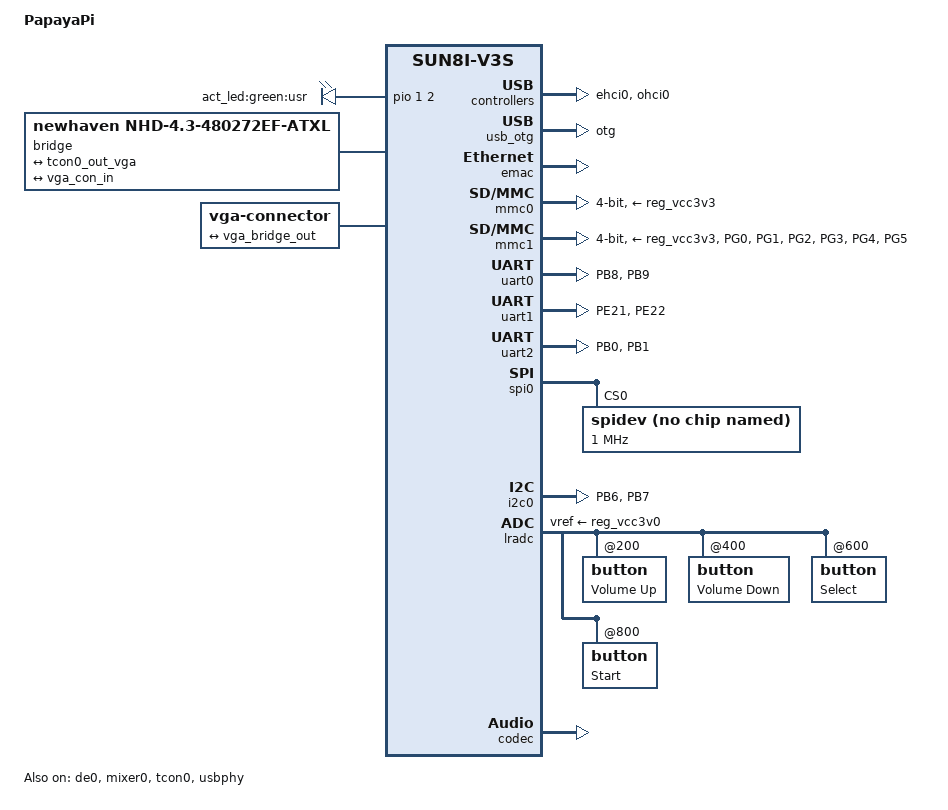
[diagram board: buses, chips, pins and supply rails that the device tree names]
/dts-v1/;
#include "sun8i-v3s.dtsi"
#include "sunxi-common-regulators.dtsi"
#include <dt-bindings/input/input.h>
/ {

	model = "PapayaPi";
	compatible = "PapayaPi", "allwinner,sun8i-v3s";
	
	aliases {
		serial0 = &uart0;
		spi0 = &spi0;
		ethernet0 = &emac;
		
	};

	chosen {
		stdout-path = "serial0:115200n8";
		
		};

	leds {
		compatible = "gpio-leds";
		act_led {
			label = "act_led:green:usr";
			gpios = <&pio 1 2 GPIO_ACTIVE_HIGH>; /* PB2 */
			linux,default-trigger = "mmc0";
			default-state = "off";
		};
	};
	bridge {
		compatible = "newhaven,nhd-4.3-480272ef-atxl", "simple-panel";
		#address-cells = <1>;
		#size-cells = <0>;
		status = "okay";
		ports {
			#address-cells = <1>;
			#size-cells = <0>;

			port@0 {
				reg = <0>;

				vga_bridge_in: endpoint {
					remote-endpoint = <&tcon0_out_vga>;
				};
			};

			port@1 {
				reg = <1>;

				vga_bridge_out: endpoint {
					remote-endpoint = <&vga_con_in>;
				};
			};
		};
	};
	vga {
		compatible = "vga-connector";
		port {
			vga_con_in: endpoint {
				remote-endpoint = <&vga_bridge_out>;
			};
		};
	};
};

&de0 {
	status = "okay";
};

&display_clocks {
	status = "okay";
};

&mixer0 {
	status = "okay";
};

&tcon0 {
	pinctrl-names = "default";
	pinctrl-0 = <&rgb_pins>;
	status = "okay";
};

&tcon0_out {
	tcon0_out_vga: endpoint@0 {
		reg = <0>;
		remote-endpoint = <&vga_bridge_in>;
	};
};

&ehci0 {
        status = "okay";
}; 

&ohci0 {
        status = "okay";
}; 

&usb_otg {
	dr_mode = "otg";
	status = "okay";
};

&usbphy {
	usb0_id_det-gpio = <&pio 5 6 GPIO_ACTIVE_HIGH>;
	status = "okay";

//	pinctrl-0 = <&usb0_id_detect_pin>;
//	usb0_id_detect_pin = <&pio 5 6 GPIO_ACTIVE_LOW>;
//	status = "okay";
};

&emac {
	allwinner,leds-active-high;
	status = "okay";
};


&mmc0 {
	pinctrl-0 = <&mmc0_pins>;
	pinctrl-names = "default";
	broken-cd;
	bus-width = <4>;
	vmmc-supply = <&reg_vcc3v3>;
	status = "okay";
};

&mmc1 {
	pinctrl-0 = <&mmc1_pins_a>;
	pinctrl-names = "default";
	broken-cd;
	bus-width = <4>;
	vmmc-supply = <&reg_vcc3v3>;
	status = "okay";
};

&uart0 { pinctrl-0 = <&uart0_pins_a>;pinctrl-names = "default";status = "okay"; };
&uart1 { pinctrl-0 = <&uart1_pins_a>;pinctrl-names = "default";status = "okay"; };
&uart2 { pinctrl-0 = <&uart2_pins_a>;pinctrl-names = "default";status = "okay"; };

&spi0 {
	status = "okay";
	pinctrl-0 = <&spi0_pins>;
	pinctrl-names = "default";
	spidev@0 {
		reg = <0>;
                compatible = "rohm,dh2228fv";
		spi-max-frequency = <1000000>;
	};
};

&i2c0 {
	pinctrl-0 = <&i2c0_pins>;
	pinctrl-names = "default";
	status = "okay";
/*	Goodix GT911 i2c touch  
	goodix_gt911_2:goodix_gt911_2@5d{
                compatible = "goodix,gt911";
                reg = <0x5d>;
                interrupt-parent = <&pio>;
                interrupts = <1 4 IRQ_TYPE_EDGE_FALLING>;
		// PB4
                reset = <&pio 1 5 GPIO_ACTIVE_LOW>;
		// PB5
                irq-gpios =   <&pio 1 4 GPIO_ACTIVE_LOW>;
        };
*/
};

&lradc {
	vref-supply = <&reg_vcc3v0>;
	status = "okay";

	button@200 {
		label = "Volume Up";
		linux,code = <KEY_VOLUMEUP>;
		channel = <0>;
		voltage = <200000>;
	};

	button@400 {
		label = "Volume Down";
		linux,code = <KEY_VOLUMEDOWN>;
		channel = <0>;
		voltage = <400000>;
	};

	button@600 {
		label = "Select";
		linux,code = <KEY_SELECT>;
		channel = <0>;
		voltage = <600000>;
	};

	button@800 {
		label = "Start";
		linux,code = <KEY_OK>;
		channel = <0>;
		voltage = <800000>;
	};
};

&codec {
	allwinner,audio-routing =
		"Headphone", "HP",
		"Headphone", "HPCOM",
		"MIC1", "Mic",
		"Mic",  "HBIAS";
	status = "okay";
};

&pio {
	rgb_pins: rgb_pins@0 {
	        pins = "PE0", "PE1", "PE2", "PE3", "PE4",
		       "PE5", "PE6", "PE7", "PE8", "PE9",
		       "PE10", "PE11", "PE12", "PE13", "PE14",
		       "PE15", "PE16", "PE17", "PE18", "PE19",
		       "PE23", "PE24";
	        function = "lcd";
	};
		mmc1_pins_a: mmc1 {
			pins = "PG0", "PG1", "PG2", "PG3", "PG4", "PG5";
			function = "mmc1";
			drive-strength = <40>;
			bias-pull-up;
		};
	i2c0_pins: i2c0 { pins = "PB6",  "PB7";  function = "i2c0"; bias-pull-up; };
	i2c1_pins: i2c1 { pins = "PE21", "PE22"; function = "i2c1"; bias-pull-up; };
	
	uart0_pins_a: uart0@0 { pins = "PB8", "PB9";function = "uart0";bias-pull-up; };
	uart1_pins_a: uart1@0 { pins = "PE21", "PE22";function = "uart1";bias-pull-up; };
	uart2_pins_a: uart2@0 { pins = "PB0", "PB1";function = "uart2";bias-pull-up; };
	usb0_id_detect_pin: usbid@0 { pins = "PF6"; function = "gpio_in"; };
};

